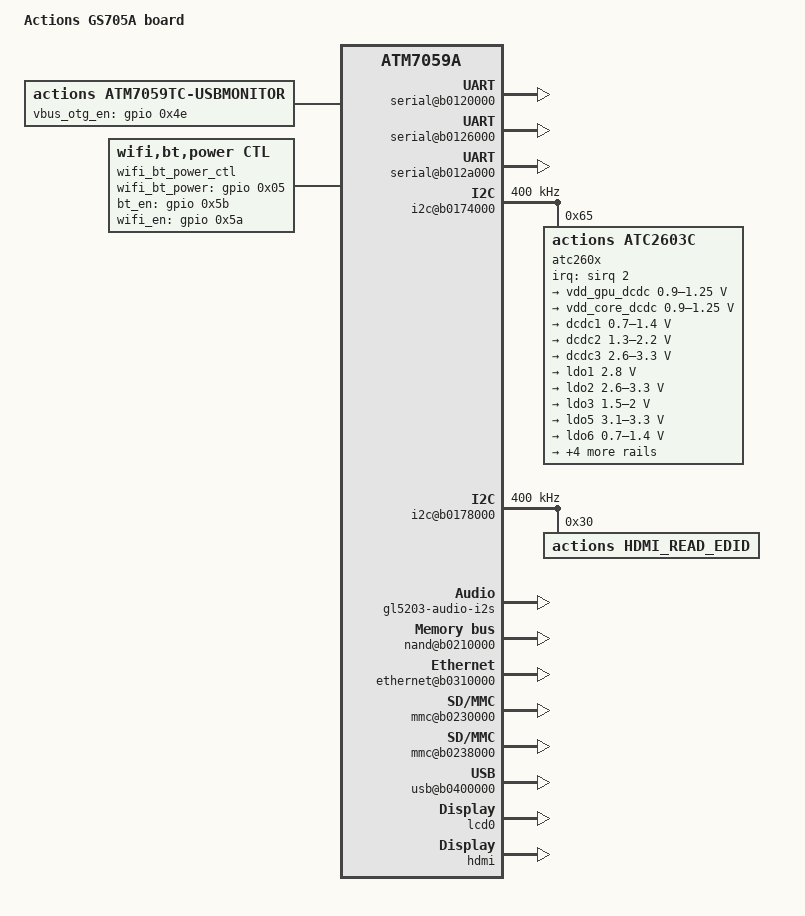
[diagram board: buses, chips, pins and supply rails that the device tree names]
/dts-v1/;

/include/ "actduino.dtsi"

/ {
	model = "Actions GS705A board";
	compatible = "actions,gs705a", "actions,atm7059a";

	/*default*/
	chosen {
		bootargs = "earlyprintk clk_ignore_unused selinux=0";
	};

	cpus {
		CPU0: cpu@0 {
			transition-latency = <61036>; /* two CLK32 periods */

			cpuvdd-supply = <&dcdc1>;
		};
	};

	reserved {
		tiny {
			fb_heap_size = <9>;
			kinfo_heap_size = <1>;
			carveout_heap_size = <00>;
			dma_heap_size = <32>;
		};
		normal {
			fb_heap_size = <8>;
			kinfo_heap_size = <1>;
			carveout_heap_size = <64>;
			dma_heap_size = <128>;
		};
	};
	dual_logo {
		value=<0x0>; /*dual_logo support,=0 disable, >0 enable; */
	};
    
	pinctrl@b01b0040 {
		pinctrl-names = "default";
		pinctrl-0 = <&state_default>;

		state_default: pinctrl_default {
		};

		serial0_state_default: serial0_default{
			serial_0{
				actions,groups = "mfp2_2_0","mfp3_21_19";
				actions,function = "uart0";
			};
		};

		serial0_state_d: serial0_d {
			serial_d {
				actions,groups = "mfp2_22","mfp2_23";
				actions,function = "uart0";
			};
		};

		serial1_state_default: serial1_default{
			serial_1{
				actions,groups = "mfp2_13_11";
				actions,function = "uart1";
			};
		};

		serial2_state_default: serial2_default{
			serial_2{
				actions,groups = "mfp2_23","mfp2_22","uart2_dummy";
				actions,function = "uart2";
			};
		};

		serial3_state_default: serial3_default{
			serial_3{
				actions,groups = "mfp2_21","mfp2_20","uart3_dummy";
				actions,function = "uart3";
			};
		};

		serial4_state_default: serial4_default{
			serial_4{
				actions,groups = "uart4_dummy";
				actions,function = "uart4";
			};
		};

		serial5_state_default: serial5_default{
			serial_5{
				actions,groups = "mfp2_19_17","mfp2_16_14";
				actions,function = "uart5";
			};
		};

		serial6_state_default: serial6_default{
			serial_6{
				actions,groups = "mfp0_18_16_eth_txd0", "mfp0_18_16_eth_txd1";
				actions,function = "uart6";
			};
		};

		ethernet_state_default: ethernet_default {
			ethernet_smi { /* pins: MDC & MDIO */
				actions,groups = "eth_smi_dummy";
				actions,function = "eth_rmii";
			};

			ethernet_rmii_txd01 {
				actions,groups = "mfp0_18_16_eth_txd0", "mfp0_18_16_eth_txd1";
				actions,function = "eth_rmii";
			};

			ethernet_rmii_txen_rxer {
				actions,groups = "mfp0_15_13_rmii_txen", "mfp0_15_13_rmii_rxen";
				actions,function = "eth_rmii";
			};

			ethernet_rmii_crs_dv {
				actions,groups = "mfp0_22_20";
				actions,function = "eth_rmii";
			};

			ethernet_rmii_rxd10 {
				actions,groups = "mfp0_10_8_rmii_rxd1", "mfp0_10_8_rmii_rxd0";
				actions,function = "eth_rmii";
			};

			ethernet_rmii_ref_clk {
				actions,groups = "mfp0_7_6";
				actions,function = "eth_rmii";
			};
		};

		mmc_share_uart_state: mmc_share_uart {
			sd0_mfp_cmd_clk {
				actions,groups = "mfp2_8_7", "mfp2_6_5";
				actions,function = "sd0";
			};

			sd0_pull_d0_d3_cmd {
				actions,pins = "P_SD0_CMD";
				actions,pull = <2>;
			};	
			
			sd0_pull_clk {
				actions,pins = "P_SD0_CLK";
				actions,pull = <0>;
			};
			
			sd0_d0_d3_cmd_clk_paddrv  {
				actions,groups  = "paddrv1_19_18","paddrv1_17_16";
				actions,paddrv  = <1>; /*level 1，范围0~3*/ 			
			};
			
			// 如果以后使用uart2请修改这个地方到uart2配置，现在默认是uart5
			serial_5 {
				actions,groups = "mfp2_19_17","mfp2_16_14";
				actions,function = "uart5";   
			};
		};
		
		mmc0_state_default: mmc0_default {
			sd0_mfp_d0_d3_cmd_clk {
				actions,groups = "mfp2_19_17", "mfp2_16_14", "mfp2_13_11", "mfp2_8_7", "mfp2_6_5";
				actions,function = "sd0";
			};

			sd0_pull_d0_d3_cmd {
				actions,pins = "P_SD0_D0", "P_SD0_D1", "P_SD0_D2", "P_SD0_D3", "P_SD0_CMD";
				actions,pull = <2>;
			};

			sd0_pull_clk {
				actions,pins = "P_SD0_CLK";
				actions,pull = <0>;
			};
			
			sd0_d0_d3_cmd_clk_paddrv  {
				actions,groups  = "paddrv1_23_22","paddrv1_19_18","paddrv1_17_16";
				actions,paddrv  = <1>; /*level 1，范围0~3*/ 			
			};
		};

		mmc1_state_default: mmc1_default {
			sd1_mfp_d0_d3_cmd_clk {
				actions,groups = "mfp2_10_9", "mfp2_4_3", "sd1_dummy";
				actions,function = "sd1";
			};

			sd1_pull_d0_d3_cmd {
				actions,pins = "P_SD1_D0", "P_SD1_D1", "P_SD1_D2", "P_SD1_D3", "P_SD1_CMD";
				actions,pull = <2>;
			};
			sd1_d0_d3_cmd_clk_paddrv  {
				actions,groups  = "paddrv1_21_20","paddrv1_15_14","paddrv1_13_12";
				actions,paddrv  = <1>; /*level 1，范围0~2*/ 			
			};
		};
	
		mmc2_state_default: mmc2_default {
			sd2_mfp_d0_d3_cmd_clk {
				actions,groups = "mfp3_3";
				actions,function = "sd2";
			};

			sd2_pull_d0_d3_cmd {
				actions,pins = "P_DNAND_D0","P_DNAND_D1","P_DNAND_D2","P_DNAND_D3","P_DNAND_D4","P_DNAND_D5","P_DNAND_D6","P_DNAND_D7","P_DNAND_RDBN";
				actions,pull = <2>;
			};

		};

		/* the format of isp state name: channel + pin + bus type(pin function) */
		/* channel: isp0/isp1, pin: csi/bt/sens1, bus type: dvp/mipi */
		isp0_state_csi_dvp: isp0_csi_dvp {
			isp0_csi_dvp_mfp {
				actions,groups = "mfp3_29_28", "mfp3_23_22", "mfp3_15_14", "mfp3_13_12";
				actions,function = "sens0";
			};
			sens0_clk_out_pdrv{
				 actions,groups = "paddrv2_13_12";
				 actions,paddrv = <0>;/*level 1 ,range :0~2*/
			};
		};

		isp0_state_csi_mipi: isp0_csi_mipi {
			isp0_csi_mipi_mfp {
				actions,groups = "mfp3_29_28", "mfp3_15_14";
				actions,function = "mipi_csi";
			};
			isp0_csi_mipi_clkout_mfp {
				actions,groups = "mfp3_23_22";
				actions,function = "sens0";
			};
		};

		spi0_state_csi_d: spi0_dsi_d {
			spi0_mfp {
				actions,groups = "mfp1_9_7","mfp1_20_19","mfp1_18_17","mfp2_26_24";
				actions,function = "spi0";
			};
			spi0_paddrv {
				actions,groups = "paddrv1_25_24";
				actions,paddrv = <0x02>;
			};
		};

		i2c0_state_default: i2c0_default {/* i2c0 use default pin	*/
			i2c0_default_mfp {
				actions,groups = "mfp3_18_16";
				actions,function = "i2c0";
			};

			i2c0_default_paddrv {
				actions,groups = "paddrv2_24_23";
				actions,paddrv = <0>;/*level 1*/
			};

			i2c0_default_pull_up {
				actions,pins = "P_I2C0_SCLK","P_I2C0_SDATA";
				actions,pull = <2>; /*pull up*/
			};
		};

		i2c0_state_over_uart0: i2c0_over_uart0 {/* i2c0 use uart0 pin	*/
			i2c0_over_uart0_mfp {
				actions,groups = "mfp2_2_0", "mfp3_21_19";
				actions,function = "i2c0";
			};

			i2c0_over_uart0_paddrv {
				actions,groups = "paddrv2_31_30","paddrv2_29_28";
				actions,paddrv = <0>;/*level 1*/
			};

			i2c0_over_uart0_pull_up {
				actions,pins = "P_UART0_RX","P_UART0_TX";
				actions,pull = <2>; /*pull up*/
			};
		};	

		i2c1_state_default: i2c1_default {/* i2c1 use default pin	*/
			i2c1_default_mfp {
				actions,groups = "i2c1_dummy";
				actions,function = "i2c1";
			};

			i2c1_default_paddrv {
				actions,groups = "paddrv2_22_21";
				actions,paddrv = <0>;/*level 1*/
			};

			i2c1_default_pull_up {
				actions,pins = "P_I2C1_SCLK","P_I2C1_SDATA";
				actions,pull = <0>;	/*stay disabled*/
			};
		};

		i2c2_state_default: i2c2_default {/* i2c2 use default pin*/
			i2c2_default_mfp {
				actions,groups = "i2c2_dummy";
				actions,function = "i2c2";
			};

			i2c2_default_paddrv {
				actions,groups = "paddrv2_22_21";
				actions,paddrv = <0>;/*level 1*/
			};

			i2c2_default_pull_up {
				actions,pins = "P_I2C2_SCLK","P_I2C2_SDATA";
				actions,pull = <2>; /*pull up*/
			};
		};
		
		i2c3_state_over_spi0: i2c3_over_spi0 {/* i2c3 use spi0 pin	*/
			i2c3_over_spi0_mfp {
				actions,groups = "mfp1_4_3";
				actions,function = "i2c3";
			};

			i2c3_over_spi0_paddrv {
				actions,groups = "paddrv1_11_10";
				actions,paddrv = <1>;/*level 1*/
			};

			i2c3_over_spi0_pull_up {
				actions,pins = "P_SPI0_SCLK","P_SPI0_MOSI";
				actions,pull = <0>; /*pull up*/
			};
		};				

		spi0_state_default: spi0_default {
			spi0_mfp {
				actions,groups = "mfp1_2_0","mfp1_4_3";
				actions,function = "spi0";
			};
		};

		spi2_nand_default: spi2_nand_d {
			spi2_mfp {
				actions,groups = "mfp3_2";
				actions,function = "spi2";
			};
		};

		pwm0_state_default: pwm0_default {
			pwm0_mfp {
				actions,groups = "mfp1_31_29_ks_in2";
				actions,function = "pwm0";
			};
		};

		pwm1_state_default: pwm1_default {
			pwm1_mfp {
				actions,groups = "mfp1_28_26_ks_in3";
				actions,function = "pwm1";
			};
		};
		pwm2_state_default: pwm2_default {
			pwm2_mfp {
				actions,groups = "mfp1_28_26_ks_out0";
				actions,function = "pwm2";
			};
		};
		pwm3_state_default: pwm3_default {
			pwm3_mfp {
				actions,groups = "mfp1_28_26_ks_out1";
				actions,function = "pwm3";
			};
		};
		lvds_state_default: lvds_default {
			lvds_mux {
				actions,groups = "mfp1_22_21", "mfp1_6_5", "mfp2_28_27";
				actions,function = "lvds";
			};
		};
		i2s0_state_default: i2s0_default {
			i2s0_default_mfp {
				actions,groups = "mfp0_2_1_i2s0", "mfp0_4_3", "mfp0_5";
				actions,function = "i2s0";
			};
		};
		rgb_state_default: rgb_default {
			rgb_mux {
				actions,groups = "mfp0_25_23","mfp1_16_14", "mfp1_22_21", "mfp1_13_12", "mfp1_11_10", "mfp1_6_5", "mfp2_30_29", "mfp2_28_27";
				actions,function = "lcd0";
			};
		};
	
		pcm0_state_spi0: pcm0_spi0 {
			pcm0_spi0_mfp {
				actions,groups = "mfp1_2_0","mfp1_4_3";
				actions,function = "pcm0";
			};
		};
	
		dsi_state_default: dsi_default {
			dsi_mux {
				actions,groups = "mfp1_20_19", "mfp1_18_17", "mfp1_13_12", "mfp1_11_10", "mfp1_9_7", "mfp2_30_29";
				actions,function = "dsi";
			};
		};
	};

	twd-watchdog@b0020600 {
		status = "disabled";
	};

	serial@b0120000 {
		clock-frequency = <48000000>;
		pinctrl-names = "default";
		pinctrl-0 = <&serial0_state_default>;
//		actions,enable-dma-rx;
		status = "okay";
	};

	serial@b0122000 {
		clock-frequency = <48000000>;
		pinctrl-names = "default";
		pinctrl-0 = <&serial1_state_default>;
//		actions,enable-dma-rx;
		status = "disabled";
	};
         /*for BT*/
	serial@b0124000 {
		clock-frequency = <48000000>;
		pinctrl-names = "default";
		pinctrl-0 = <&serial2_state_default>;
//		actions,enable-dma-rx;
		status = "disabled";
	};

	serial@b0126000 {
		clock-frequency = <48000000>;
		pinctrl-names = "default";
		pinctrl-0 = <&serial3_state_default>;
//		actions,enable-dma-rx;
		status = "okay";
	};

	serial@b0128000 {
		clock-frequency = <48000000>;
		pinctrl-names = "default";
		pinctrl-0 = <&serial4_state_default>;
//		actions,enable-dma-rx;
		status = "disabled";
	};

	serial@b012a000 {
		clock-frequency = <48000000>;
//		pinctrl-names = "default";
//		pinctrl-0 = <&serial5_state_default>;
//		actions,enable-dma-rx;
		status = "okay";
//		sdio_uart_supported;
	};

	serial@b012c000 {
		clock-frequency = <48000000>;
		pinctrl-names = "default";
		pinctrl-0 = <&serial6_state_default>;
//		actions,enable-dma-rx;
		status = "disabled";
	};

	i2c@b0174000 {
		i2c_num = <1>;
		clock-frequency = <400000>;
		status = "okay";
		pinctrl-names = "default";
		pinctrl-0 = <&i2c0_state_default>;
		#address-cells = <1>;
		#size-cells = <0>;	
		
		/* atc2603c (5307) */
		atc260x: atc2603c@65 {
			compatible = "actions,atc2603c";
			reg = <0x65>;
			interrupt-parent = <&sirq>;
			interrupts =< 2 0x4 >;
			interrupt-controller;
			#interrupt-cells = <1>;

			losc_32k_output_enable = <1>;    /* enable/disable output 32.768K clock via I2S_MCLK1 pin */
			losc_32k_output_voltage = <31>;  /* select voltage scale of the 32.768K clock output, 18:1.8v, 31:3.1v */

			pm {
				compatible = "actions,atc2603c-pm";
			};

			onoff {
				compatible = "actions,atc2603c-onoff";
			};

			atc260x-pwm {
				compatible = "actions,atc2603c-pwm";
			};

			rtc{
				compatible = "actions,atc2603c-rtc";
			};

			atc260x_gpio: atc260x_gpio {
				compatible = "actions,atc2603c-gpio";
				gpio-controller;
				#gpio-cells = <2>;
			};

			atc260x_sgpio: atc260x_sgpio {
				compatible = "actions,atc2603c-sgpio";
				gpio-controller;
				#gpio-cells = <2>;
				interrupt-controller;
				#interrupt-cells = <2>;
			};

			atc260x-adckeypad{
#define KEY_HOME				172
#define KEY_MENU				139
#define KEY_BACK				158
#define KEY_VOLUMEDOWN				114
#define KEY_VOLUMEUP				115
				keymapsize = <4>;                   /* number of ADC key */
				filter_dep = <3>;                   /* depth of the moving average filter (length of filter queue) */
				variance = <10>;                    /* filter will not output until the difference between every two ADC samples in the filter queue goes below this value */
				poll_interval =  <10>;              /* sample period, in ms */
				left_adc_val =  <0x00 0x5a 0xaf 0x10e>;     /* for key code translator, each value defines a lower bound of ADC value of a key */
				right_adc_val = <0x1e 0x78 0xdc 0x140>;   /* for key code translator, each value defines a upper bound of ADC value of a key */
				key_val = <0x66 0x8b 0x73 0x72 0x56 0x57 0x58 0x59 0x60 0x0e 0x0f 0x14 0x13 0x5b 0x5c 0x5a 0x5d 0x67>; /* for key code translator, each value defines the key_code of a key */
				adc_channel_name = "AUX0";          /* the ADC channel used for sampling, valid names are REMCON AUX0 AUX1 AUX2 (AUX3) */
				compatible = "actions,atc2603c-adckeypad";
				status = "disabled";                /* enable/disable ADC key function (okay or disabled) */
			};

			/*the cfg params must be read	in the first installed ko,
			 now snd-soc-atv5302.ko is first installed.
			 1, earphone_detect_level use the third value of earphone_gpios
			 2, commonly, we shouldn't change the value of speaker_gain and earphone_gain*/
			
			atc260x-audio{
				compatible = "actions,atc2603c-audio";
				status = "okay";
                                pinctrl-names = "default";
                                pinctrl-0 = <&i2s0_state_default>;				
				earphone_detect_gpios = <&gpio 0x1c 0>; /*0: high, 1: low hr280ac GPIOA21 0*/
				speaker_en_gpios = <&gpio 0x28 1>; /*hr280ac GPIOD(30) 0: high, 1: low*/
				earphone_output_mode = <1>; /*0: direct mode, 1: undirect mode*/
				mic_num = <1>; /*just suport 1, 2*/
				mic0_gain = < 0x7 0x7 >; /*<Lchannel,Rchannel> [0x0~0xF]*/
				speaker_gain = < 0xb4 0xb4 >; /*<Lchannel,Rchannel>[0x00~0xbebe]*/
				earphone_gain = < 0xbe 0xbe >; /*<Lchannel,Rchannel>[0x00~0xbebe]*/
				mic_mode = <1>; /* 1: differential,  2: single end*/
				earphone_detect_method = <3>; /*0:gpio, 1:irq, 2:adc*/	
				//adc_plugin_threshold = <850>; /*adc earphone detect plugin threshold value*/		
				//adc_level = <0>; /*adc plugin level, 1:high vol when plugin; 0:low vol when plug in*/
			};

			atc260x-hwmon{
				compatible = "actions,atc2603c-hwmon";
			};

			atc260x-power{
                                compatible = "actions,atc2603c-power";
                                bl_on_usb_pc_max_charge_current = <0x64>;
                                bl_off_usb_pc_max_charge_current = <0x1f4>;
                                bl_on_usb_adp_max_charge_current = <0x3e8>;
                                bl_off_usb_adp_max_charge_current = <0x4b0>;
                                bl_on_wall_adp_max_charge_current = <0x3e8>;
                                bl_off_wall_adp_max_charge_current = <0x4b0>;
                                bl_on_voltage_diff = <0x15e>;
                                bl_off_voltage_diff = <0x190>;
                                support_adaptor_type = <0x01>;
                                usb_adapter_as_ac = <0x00>;
                                boot_cap_threshold = <0x03>;
                                ext_dcdc_exist = <0x00>;
                                pwms = <0x0d 0x02 0x7a120 0x01>;
                                pwm-names = "ext_moto";
                                ext_charger_exist = <0x00>;
                                charger_led_exist = <0x01>;
                                inner_charger_led_ctl = <0x0c 0x16 0x00>;
                                low_power_led_ctl = <0x0c 0x15 0x01>;
                                work_led_ctl = <0x0c 0x12 0x01>;
                                myotg_id = <0x0c 0x6a 0x00>;
                                otg_1_ctl = <0x0c 0x17 0x00>;
                                otg_2_ctl = <0x0c 0x5f 0x00>;
                                no_screen = <0x01>;
                                temp_ctl_enable = <0x00>;
                                temp_shutdown_low = <0x3ed>;
                                temp_stop_low = <0x00>;
                                temp_shutdown_high = <0x32>;
                                temp_stop_high = <0x2d>;
                                temp_diff_restart = <0x02>;
			};

			atc260x-cap-gauge{
				compatible = "actions,atc2603c-cap-gauge";
				capacity = < 2100 >;                              /*mAh, the full capacity of battery used*/
				icm_available= < 1 >;							  /* 1:available 0:not available */ 
				icm_ohm_val = < 20 >;                             /*mohm,just 20 or 10,for ICM detecting current*/
				taper_voltage = < 4200 >;                         /*mV,the one close to the full capacity*/
				taper_current = <300>; 
				min_over_chg_protect_voltage = < 4275 >;				/*mA,the one close to the full capacity*/
				ch_resistor = <120>;
				disch_resistor = <180>;
				terminal_voltage = <3450>;                        /*mV,the lowest voltage of battery permitted*/
				suspend_current = < 1400 >;                       /* uA,the current of suspend*/
				shutdown_current = < 50 >;                        /* uA,the current of shutdown*/
				print_switch = <0>;                               /*1:open the switch of printing information 0:the opposite*/
				log_switch = <0>;                                 /*0:open the switch of recording charging log 1:the opposite*/
				
				ocv_soc_00 = <3477 3534 3591 3624 3637 3649 3661 3667 3673 3677>;    	 /* capacity:from 1% to 10%*/
				ocv_soc_10 = <3682 3685 3690 3693 3700 3706 3712 3716 3722 3728 >;	 /* capacity:from 11% to 20%*/
				ocv_soc_20 = <3732 3736 3739 3744 3747 3751 3755 3758 3761 3765>;	 /* capacity:from 21% to 30%*/
				ocv_soc_30 = <3768 3771 3775 3777 3782 3784 3788 3791 3793 3794 >;	 /* capacity:from 31% to 40%*/
				ocv_soc_40 = <3800 3801 3804 3807 3812 3815 3819 3823 3825 3830>;	 /* capacity:from 41% to 50%*/
				ocv_soc_50 = <3834 3838 3841 3845 3850 3854 3858 3864 3870 3874>;	 /* capacity:from 51% to 60%*/
				ocv_soc_60 = <3880 3889 3895 3902 3908 3916 3926 3933 3940 3947>;	 /* capacity:from 61% to 70%*/
				ocv_soc_70 = <3954 3961 3968 3972 3979 3985 3992 3997 4005 4012>;	 /* capacity:from 71% to 80%*/
				ocv_soc_80 = <4019 4028 4036 4046 4054 4061 4068 4075 4084 4090>;	 /* capacity:from 81% to 90%*/
				ocv_soc_90 = <4099 4107 4115 4126 4132 4141 4152 4160 4170 4180>;	 /* capacity:from 91% to 100%*/
				
			};

			atc260x-backup{
				compatible = "actions,atc2603c-backup";
				status = "disabled";
			};
 
			vdd_gpu_dcdc: vdd-gpu-dcdc {
				compatible = "actions,atc2603c-ext-pwm-dcdc1","actions,atc2603c-ext-pwm-dcdc";
				regulator-name = "vdd-gpu-dcdc";
				regulator-min-microvolt  = <900000>;
				regulator-max-microvolt = <1250000>;
				regulator-always-on;
				pwms = <&pwm 1 2666 0>;	// 1-pwm1   2666-1/(24M/64)*1000000-1   0 -active high
				table_len = < 15 >;			//length of vdd_cpu_table & pwm_config_table
				vdd_cpu_table = <900000 925000 950000 975000 1000000 1025000 1050000 1075000 1100000 1125000 1150000 1175000 1200000 1225000 1250000>;	//uV
				pwm_config_table = <19 18 17 16 15 14 13 12 11 10 9 8 7 6 5>;	//the pwm period of 1.1v 1.2v 1.3v
			};
 
			vdd_core_dcdc: vdd-core-dcdc {
				compatible = "actions,atc2603c-ext-pwm-dcdc2","actions,atc2603c-ext-pwm-dcdc";
				regulator-name = "vdd-core-dcdc";
				regulator-min-microvolt  = <900000>;
				regulator-max-microvolt = <1250000>;
				regulator-always-on;
				pwms = <&pwm 2 2666 0>;	// 1-pwm1   2666-1/(24M/64)*1000000-1   0 -active high
				table_len = < 15 >;			//length of vdd_cpu_table & pwm_config_table
				vdd_cpu_table = <900000 925000 950000 975000 1000000 1025000 1050000 1075000 1100000 1125000 1150000 1175000 1200000 1225000 1250001>;	//uV
				pwm_config_table = <19 18 17 16 15 14 13 12 11 10 9 8 7 6 5>;	//the pwm period of 1.1v 1.2v 1.3v
			};
 
			dcdc1: dcdc1 {
				compatible = "actions,atc2603c-dcdc1","actions,atc2603c-dcdc";
				regulator-name = "dcdc1";
				regulator-min-microvolt = <700000>;
				regulator-max-microvolt = <1400000>;
				regulator-always-on;
			};

			dcdc2: dcdc2 {
				compatible = "actions,atc2603c-dcdc2","actions,atc2603c-dcdc";
				regulator-name = "dcdc2";
				regulator-min-microvolt = <1300000>;
				regulator-max-microvolt = <2200000>;
				regulator-always-on;
			};

			dcdc3: dcdc3 {
				compatible = "actions,atc2603c-dcdc3","actions,atc2603c-dcdc";
				regulator-name = "dcdc3";
				regulator-min-microvolt = <2600000>;
				regulator-max-microvolt = <3300000>;
				regulator-always-on;
			};

			dcdc4: dcdc4 {
				status = "disabled";
			};

			dcdc5: dcdc5 {
				status = "disabled";
			};

			ldo1: ldo1{
				compatible = "actions,atc2603c-ldo1","actions,atc2603c-ldo";
				regulator-name = "ldo1";
				regulator-min-microvolt  = <2800000>;
				regulator-max-microvolt = <2800000>;
				regulator-always-on;
			};

			ldo2: ldo2{
				compatible = "actions,atc2603c-ldo2","actions,atc2603c-ldo";
				regulator-name = "ldo2";
				regulator-min-microvolt  = <2600000>;
				regulator-max-microvolt = <3300000>;
				regulator-always-on;
			};

			ldo3: ldo3{
				compatible = "actions,atc2603c-ldo3","actions,atc2603c-ldo";
				regulator-name = "ldo3";
				regulator-min-microvolt  = <1500000>;
				regulator-max-microvolt = <2000000>;
				regulator-always-on;
			};

			ldo4: ldo4{
				status = "disabled";
			};

			ldo5: ldo5{
				compatible = "actions,atc2603c-ldo5","actions,atc2603c-ldo";
				regulator-name = "ldo5";
				regulator-min-microvolt  = <3100000>;
				regulator-max-microvolt = <3300000>;
				regulator-suspend-off;
			};

			ldo6: ldo6{
				compatible = "actions,atc2603c-ldo6","actions,atc2603c-ldo";
				regulator-name = "ldo6";
				regulator-min-microvolt  = <700000>;
				regulator-max-microvolt = <1400000>;
				regulator-always-on;
			};

			ldo7: ldo7{
				compatible = "actions,atc2603c-ldo7","actions,atc2603c-ldo";
				regulator-name = "ldo7";
				regulator-min-microvolt  = <1800000>;
				regulator-max-microvolt = <1800000>;
				//regulator-always-on;
				regulator-suspend-off;
			};

			ldo8: ldo8{
				compatible = "actions,atc2603c-ldo8","actions,atc2603c-ldo";
				regulator-name = "ldo8";
				regulator-min-microvolt  = <2300000>;
				regulator-max-microvolt = <3300000>;
			};

			ldo9: ldo9{
				status = "disabled";
			};

			ldo10: ldo10{
				status = "disabled";
			};

			ldo11: ldo11{
				compatible = "actions,atc2603c-ldo11","actions,atc2603c-ldo";
				regulator-name = "ldo11";
				regulator-min-microvolt  = <2600000>;
				regulator-max-microvolt = <3300000>;
				regulator-always-on;
			};

			switch1:switch1{
				compatible = "actions,atc2603c-switch1","actions,atc2603c-switch";
				regulator-name = "switch1";
				regulator-min-microvolt  = <3100000>;
				regulator-max-microvolt = <3300000>;
				regulator-always-on;
			};

			switch2:switch2{
				status = "disabled";
			};
		};
	};
	
	i2c@b0178000 {
		i2c_num = <2>;
		clock-frequency = <400000>;
		status = "okay";
		pinctrl-names = "default";
		pinctrl-0 = <&i2c2_state_default>;

		hdmi_read_edid@30{
			compatible = "actions,hdmi_read_edid";
			reg = <0x30>;
		};
	};

	i2c@b017c000 {
		i2c_num = <3>;
		clock-frequency = <400000>;
		status = "disabled";
		pinctrl-names = "default";
		pinctrl-0 = <&i2c3_state_over_spi0>;
		eg2801_eeprom@14 {
                	compatible ="actions,eg2801_eeprom";
			reg = <0x14>;
                };

                eg2801_ram@55 {
                	compatible ="actions,eg2801_ram";
                	reg = <0x55>;
                };
	};

	spi@b0200000 {
		compatible = "actions,owl-spi";
		reg = <0xb0200000 0x4000>;
		interrupts = <0x00 0x13 0x04>;
		status = "disabled";
	};

	spi@b0204000 {
		status = "disabled";
	};

	spinand@b0208000 {
		compatible = "actions,atm7059a-spinand";
		clock-frequency = <0x2faf080>;
		status = "disabled";
	};
	
	gl5203-audio-i2s{
		#address-cells = <1>;
		#size-cells = <1>; 
		compatible = "actions,owl-audio-i2s";
		reg = <0xb0100000 0x34 0xb0110000 0x8010>;
	};

	gpio@b01b0000 {
		status = "okay";
	};

	nand@b0210000 {
		compatible = "actions,atm7059a-nand";
	};

	ethernet@b0310000 {
		compatible = "actions,owl-ethernet";
	};

	mmc@b0230000 {
		pinctrl-names = "default","share_uart2_5";
		pinctrl-0 = <&mmc0_state_default>;
		pinctrl-1 = <&mmc_share_uart_state>;

		max_clk = <0x17d7840>;
		card_type = "memory";  /* only: "memory", "wifi", or "emmc" */
		card_detect_mode = "gpio";  /* only: "sirq", "gpio", or "command" */
		card_detect_gpios = <&gpio 0x29 0>; /*86v S500 GPIOD24 */  
		interrupts = < 0 42 0x4 >;
		
		status = "okay";

		sd_vcc = "switch1";
		sdio3_0_not_supported;
	};

	mmc@b0234000 {
		pinctrl-names = "default";
		pinctrl-0 = <&mmc1_state_default>;

		card_type = "wifi";  /* only: "memory", "wifi", or "emmc" */

//		status = "okay";
		status = "disabled";
	};

	mmc@b0238000 {
		pinctrl-names = "default";
		pinctrl-0 = <&mmc2_state_default>;
		card_type = "memory";  /* only: "memory", "wifi", or "emmc" */
		card_detect_mode = "command";
		status = "okay";
//		status = "disabled";
	};

	usb@b02b8000 {
		vbus-src = "gpio";  /* only: "gpio", "regulator", or "none" */

		//gpios = <&gpio 23 0>; /* GPIOA19, 0: high, 1: low only when vbus-src is "gpio" */ /*M3305 Not use*/

		vbus-regulator = "LDO1"; /* only when vbus-src is "regulator" */
		regulator-scope = <3300000 3500000>;  /* uV */

		status = "disabled"; /* don't create platform-device */
	};

	usb@b0400000 {
		usb_serialnumber_config = <1>; /* config serialnumber string format, 0: unified ascii; 1:unified unicode; 2:nounified unicode; 3: nounified ascii*/
		usb_hs_output_strength = <2>; /*defaut:2,range:0~7; 0:min,7:max;usb high speed(2.0)transmitter output strength*/
		status = "okay";
	};
  usb@b0600000 { 
     //vbus_otg_en_gpio = <&gpio 116 1>; /*GPIO D20*/ 
     port0_host_plug_detect = <3>;      /*0:disable 1:enable detect and vbus contrl 2:only detect 3:enalbe detect and usb1&usb2 use the same gpio*/
   }; 
   usb@b0700000 { 
     //vbus_otg_en_gpio =<&gpio 116 1>; /*GPIO D20*/ 
     port1_host_plug_detect = <3>;    /*0:disable 1:enable detect and vbus contrl 2:only detect 3:enalbe detect and usb1&usb2 use the same gpio*/
   };

	monitor {
		compatible = "actions,atm7059tc-usbmonitor";
		detect_type = <3>; /* config what to detect, 0:DISABLE ; 1:DEVICE_ONLY; 2:HOST_ONLY; 3: HOST_AND_DEVICE*/
		idpin_type   = <0>; /* 0:use ic's idpin;      1:soft idpin,##no support!##;       2:gpio idpin,use gpio to detect,need to add a "idpin_gpio" configuration */
		vbus_type   = <2>; /* 0:use ic's vbuspin; 1:gpio vbus,##no support!## ;      2:use dc5v to detect vbus level*/
		//fix_vbus_reset = <1>;/* NOTE: it is only used for some specific boards, be careful! */
		
		/*vbus_otg_en_gpio is use to turn on/off otg vbus,it's different from vbus detect gpio;*/  
		vbus_otg_en_gpios = <&gpio 0x4e 0>;  /* GPIOD13,  0: low active; 1: high active */
		//idpin_gpio = <&gpio 63 1>;   /*if idpin detect by gpio,config the gpio to GPIOB31, input,0: low active; 1: high active*/
		status = "okay";
	};

	isp@b0270000 {
		avdd-src = "regulator";  /* only: "gpio", "regulator" */
		//avdd-gpios = <&gpio 14 0>; /* GPIOA14, 0: high, 1: low only when vbus-src is "gpio" */
		avdd-regulator = "ldo1"; /* only when vbus-src is "regulator" */
		avdd-regulator-scope = <2800000 2810000>;  /* uV */
		dvdd-gpios = <&gpio 0x39 0>;
		sensors = "rear"; /* "dual", "front" or "rear" */		
		pwdn-rear-gpios = <&gpio 0x49 0>; /* GPIOC17 */
		pwdn-front-gpios = <&gpio 0x46 0>; /* GPIOC15 */
		rear-reset-gpios = <&gpio 0x72 1>; /*:GPIOC16*/

		status = "disabled"; /* create platform-device */
	};
	
	sensors: isp-sensor {
		compatible = "sensor_common";
		rear_bus_type = "dvp";  /* dvp or mipi */
		front_bus_type = "dvp";
		rear_data_type = "yuv";  /* yuv or raw */
		front_data_type = "yuv";
		host = <&isp0>; /* only isp0 if there is one host, isp0 or isp1 if two hosts */
		rear_channel = <0>;
		front_channel = <0>;
		i2c_adapter = <&i2c2>; /* 0-3 begin from enabled ones */

		pinctrl-names = "default";
		pinctrl-0 = <&isp0_state_csi_dvp>;

		status = "disabled";
	};
	sensor-detect {
		compatible = "sensor_detect";
		status = "disabled";
		hot_plugin_enable = <0>; /* 1-enable, 0-disable */
		sensor_detect_list {
			gc0308 = <1>;  /* 1-detect this sensor, 0-don't detect */
			gc0328 = <1>;
			gc0329 = <1>;
			gc0312 = <1>;
			gc2035 = <1>;
			gc2145 = <1>;
			gc2155 = <1>;
			hi708 = <1>;
			hi257 = <1>;
			ov2686 = <1>;
			ov5640 = <1>;
			sp0718 = <1>;
			sp0a19 = <1>;
			sp2519 = <1>;	
			siv121du = <1>;	
			soc5140 = <1>;
    	};
    };

	
	lcd0: lcd0@b02a0000 {
		status = "okay";
		pinctrl-names = "default";
		pinctrl-0 = <&rgb_state_default>;
		lcd_power_gpios = <&gpio 130 0>;
		//lcd_reset_gpios = <&gpio 131 0>;
		lcd_power_gpios = <&gpio 0x24 0>;
		lcd_reset_gpios = <&gpio 0x23 0>;
		lcd_spics_gpios = <&gpio 0x11 1>;
		lcd_spiclk_gpios = <&gpio 0x78 1>;
		lcd_spidat_gpios = <&gpio 0x79 1>;
		port_type = "rgb";
		data_width = <0>;
		videomode-0 = <&lcd_mode0>;
		vsync_inversion = <1>;
		hsync_inversion = <1>;
		dclk_inversion = <1>;
		lde_inversion = <0>;
		lightness = <0x80>;
		saturation = <7>;
		contrast = <5>;
		lcd_mode0:mode@640x480p60 {
			refresh = <60>;
			xres = <640>;
			yres = <480>;
			/*in pico second, 0.000 000 000 001s*/
			pixclock = <47000>;
			left_margin = <16>;
			right_margin = <20>;
			upper_margin = <15>;
			lower_margin = <5>;
			hsync_len = <30>;
			vsync_len = <2>;
			/*0: FB_VMODE_NONINTERLACED, 1:FB_VMODE_INTERLACED*/
			vmode = <0>;
		};
	};


	hdmi:hdmi@b02c0000{
		status = "okay";
		hdcp_onoff = <0>;
		channel_invert = <0>;
		bit_invert = <0>;
		hotplugable = <1>;
		bootable = <1>; 
		i2cbus = <2>;
		bootrotate = <0>;   
		default_resolution = "1280x720p-60";
	};

        matrix_keypad@0 {
                compatible = "gpio-matrix-keypad";
                status = "disabled";
                debounce-delay-ms = <0x14>;
                col-scan-delay-us = <0x0a>;
                row-gpios = <&gpio 0x2d 0x00 0x0c 0x2e 0x00>;
                col-gpios = <&gpio 0x32 0x00 0x0c 0x33 0x00 0x0c 0x30 0x00 0x0c 0x2f 0x00>;
                linux,keymap = <0x8b 0x1009e 0x2009f 0x30069 0x1000080 0x1010077 0x1020078 0x1030079>;
        };

	
	framebuffer {
		compatible = "actions,framebuffer";  
		def_display  = "lcd";
		xres = <640>;
		yres = <480>;
		bpp = <4>;
		mode = <1>;

	};
	cvbs:cvbs@b02b0000{  
		default_mode = "PAL";
		status ="disabled";
	};

	pwm: pwm@b01b0050 {
		pwm0 {
			id = <0>;
			pinctrl-names = "default";
			pinctrl-0 = <&pwm0_state_default>;
		};
		pwm1 {
			id = <1>;
			pinctrl-names = "default";
			pinctrl-0 = <&pwm1_state_default>;
		};
		pwm2 {
			id = <2>;
			pinctrl-names = "default";
			pinctrl-0 = <&pwm2_state_default>;
		};
		pwm3 {
			id = <3>;
			pinctrl-names = "default";
			pinctrl-0 = <&pwm3_state_default>;
		};
	};

	dsi@b0220000 {
		status = "disabled";
	};

	backlight {
		/*1.pwm num; 2. period in ns; */
		/*3.plarity, 0: high active, 1: low active*/
//		backlight_en_gpios = <&gpio 124 0>; /*S500 GPIOD28*/ 
		pwms = <&pwm 0 0xc350 0>;
		total_steps = <1024>;
		min_brightness = <0>;
		max_brightness = <1024>;
		dft_brightness = <0x190>;
		delay_bf_pwm  = <200>;
		delay_af_pwm  = <10>;	
	};
	
	vibrator {
		compatible = "actions,vibrator";
		status = "disabled";
	};
	
	wifi_bt_power_ctl {
		compatible = "wifi,bt,power,ctl";
		//bt_power_gpio = <&gpio 16 0>;/*GPIOA20, high active*/   /*BT_WAKE*/
		wifi_bt_power_gpios = <&gpio 0x05 0>; /* GPIOB1 */
		bt_en_gpios = <&gpio 0x5b 0>; /*GPIOB2, high active*/ 
		wifi_en_gpios = <&gpio 0x5a 0>; /* GPIOB0 */
	};

	gsensor_detect {
	  compatible = "owl-gsensor-detect";
		i2c_adapter_id = <2>;
	  status = "disabled";
	  gsensor_detect_list {
			compatible = "gsensor_detect_list";
      afa750 =  <0>;
      bma220 =  <0>;
      bma222 =  <1>;
      bma250 =  <0>;
      dmard10 = <0>;
      kxtj9 =   <0>;
      lis3dh =  <0>;
      mc3210 =  <0>;
      mc3230 =  <0>;
      mc3232 =  <1>;
      mc3236 =  <1>;
      mma7660 = <0>;
      mma8452 = <0>;
      stk8312 = <1>;
      stk8313 = <1>;
	  };
	};

	ctp_detect {
		compatible = "owl-ctp-detect";
		i2c_adapter_id = <1>;
		tp_vcc = "ldo5";
		status = "disabled";
		reset_gpios = <&gpio 0x23 1>;    /*GPIOB(3) 0: high, 1: low*/
		interrupt-parent = <&sirq>;
		interrupts =< 0 0x4 >; /*SIRQ0*/
		vol_range = <3100000 3110000>;

		ctp_detect_list {
			compatible = "ctp_detect_list";
			ICN83XX =  <0>;
			GSLX6X0 =  <1>;
			FT52-406 = <0>;
			FT5606 =   <0>;
			GT813 =    <0>;
			AW5206 =   <0>;
			AW5209 =   <0>;
			CT36X =    <0>;
			HL3X06 =   <0>;
			ILITEK =   <0>;
			ili2672 =  <0>;
			ft5x06 =   <0>;
			MT395 =    <0>;
			NT1100X =  <0>;
			SSD254X =  <0>;
	   };
	};
  
	pcm-audio {
		compatible = "actions,pcm-audio";
		status = "okay";
	};
 
	gpu@b0300000 {
		gpuvdd-supply = <&vdd_gpu_dcdc>;
		normal_value = <2>;
		status = "okay";
	};
};
